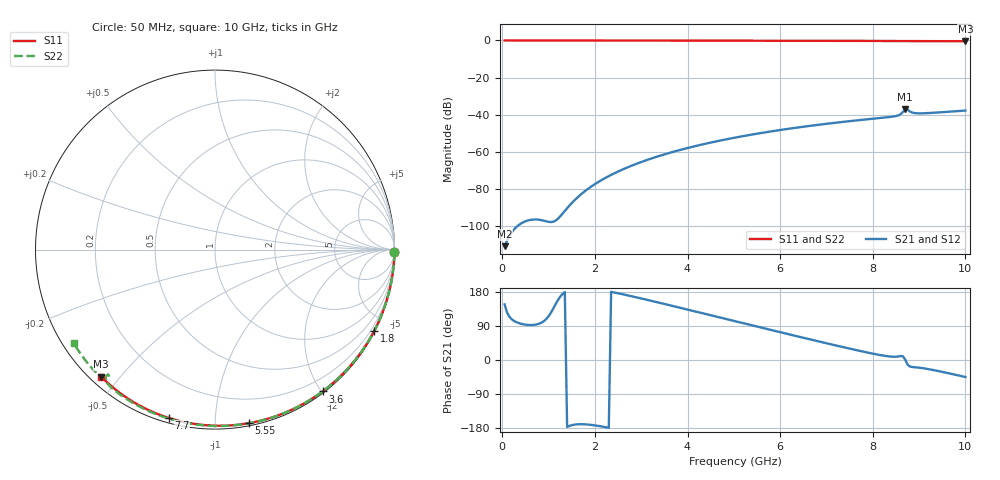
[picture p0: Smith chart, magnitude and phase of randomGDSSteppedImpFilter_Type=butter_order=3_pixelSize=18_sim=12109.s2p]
! freq	dB(S11)	phase(S11)	dB(S12)	phase(S12)
!  dB(S21)	phase(S21)	dB(S22)	phase(S22)
!S-par simulation data
#  GHz  S  DB  R 50
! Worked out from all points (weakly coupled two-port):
!   200 points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, 50 MHz to 10 GHz, reference 50 ohm
!   highest |S21| = -37.02 dB at 8.7 GHz (marker M1); lowest = -110.6 dB at 50 MHz (marker M2)
!   lowest |S11| = -0.4 dB at 10 GHz (marker M3), VSWR 39.05, Z = 1.54 - j22.3 ohm
!   |S11| at or under -10 dB: nowhere
!   |S22| runs from -0.8 to 0.0 dB; largest |S21 - S12| = 0
!   S11 on the Smith chart (normalised r, x): 50 MHz: open; 1.8 GHz: 0.04, -4.16; 3.6 GHz: 0.02, -2.01; 5.55 GHz: 0.02, -1.22; 7.7 GHz: 0.02, -0.76; 10 GHz: 0.03, -0.45
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0.05  -0.00 -0.8  -110.61 146.8  -110.61 146.8  -0.00 -0.9
0.9  -0.02 -13.6  -96.92 102.8  -96.92 102.8  -0.02 -15.3
1.75  -0.03 -26.3  -81.70 -169.5  -81.70 -169.5  -0.04 -29.4
1.8  -0.03 -27.0  -80.72 -169.9  -80.72 -169.9  -0.04 -30.2
1.85  -0.04 -27.8  -79.80 -170.4  -79.80 -170.4  -0.04 -31.0
2.15  -0.04 -32.1  -74.97 -175.5  -74.97 -175.5  -0.05 -35.9
2.55  -0.05 -38.0  -69.90 174.8  -69.90 174.8  -0.05 -42.4
2.95  -0.06 -43.7  -65.82 163.8  -65.82 163.8  -0.06 -48.7
3.4  -0.07 -50.0  -62.01 150.9  -62.01 150.9  -0.07 -55.8
3.6  -0.07 -52.8  -60.52 145.0  -60.52 145.0  -0.08 -58.9
4.3  -0.09 -62.4  -56.02 124.1  -56.02 124.1  -0.10 -69.5
5.05  -0.11 -72.4  -52.12 101.7  -52.12 101.7  -0.12 -80.5
5.55  -0.13 -78.9  -49.92 86.7  -49.92 86.7  -0.14 -87.7
6.7  -0.18 -93.3  -45.74 52.8  -45.74 52.8  -0.20 -103.6
7.7  -0.24 -105.4  -42.85 24.6  -42.85 24.6  -0.27 -117.0
8.35  -0.29 -113.0  -41.21 9.4  -41.21 9.4  -0.33 -125.8
8.55  -0.31 -115.3  -40.31 9.3  -40.31 9.3  -0.39 -129.0
8.6  -0.31 -115.9  -39.68 10.4  -39.68 10.4  -0.44 -130.0
8.7  -0.32 -117.0  -37.02 1.2  -37.02 1.2  -0.77 -130.5
8.85  -0.33 -118.8  -38.75 -18.5  -38.75 -18.5  -0.48 -130.7
9  -0.34 -120.5  -39.19 -20.2  -39.19 -20.2  -0.42 -133.1
10  -0.44 -131.8  -37.70 -44.9  -37.70 -44.9  -0.50 -146.4
